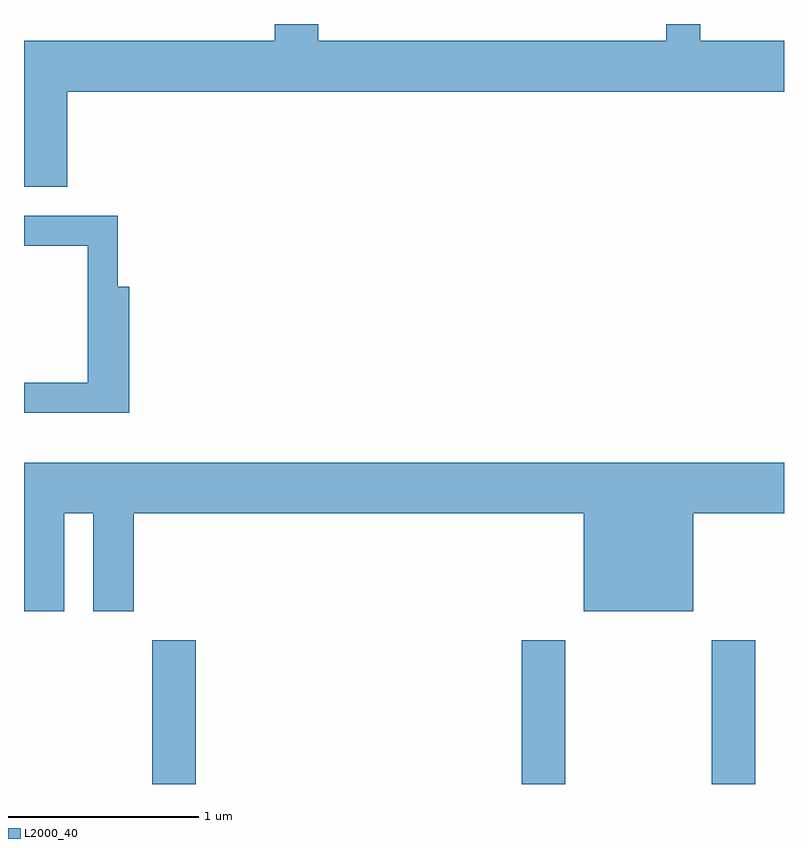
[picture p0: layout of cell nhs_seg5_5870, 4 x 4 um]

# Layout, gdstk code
import gdstk
lib = gdstk.Library(unit=1e-6, precision=1e-09)
def R(c, l, rs):  # rectangles x0, y0, x1, y1
    for r in rs: c.add(gdstk.rectangle(r[:2], r[2:], *l))
def P(c, l, *ps):  # polygons
    for p in ps: c.add(gdstk.Polygon(p, *l))
L2000_40 = (2000, 40)

nhs_seg5_5870 = lib.new_cell('nhs_seg5_5870')
R(nhs_seg5_5870, L2000_40, [(360.286,1422.072,360.514,1422.829), (362.231,1422.072,362.459,1422.829), (363.231,1422.072,363.459,1422.829)])
P(nhs_seg5_5870, L2000_40, [(362.991,1426.072),(362.991,1425.984),(361.159,1425.984),(361.159,1426.072),(360.931,1426.072),(360.931,1425.984),(359.611,1425.984),(359.611,1425.216),(359.839,1425.216),(359.839,1425.716),(363.611,1425.716),(363.611,1425.984),(363.169,1425.984),(363.169,1426.072)],
  [(360.164,1424.689),(360.104,1424.689),(360.104,1425.064),(359.611,1425.064),(359.611,1424.906),(359.946,1424.906),(359.946,1424.184),(359.611,1424.184),(359.611,1424.026),(360.164,1424.026)],
  [(359.824,1423.496),(359.976,1423.496),(359.976,1422.981),(360.189,1422.981),(360.189,1423.496),(362.556,1423.496),(362.556,1422.981),(363.134,1422.981),(363.134,1423.496),(363.611,1423.496),(363.611,1423.764),(359.611,1423.764),(359.611,1422.981),(359.824,1422.981)])

lib.write_gds('nhs_seg5_5870.gds')
